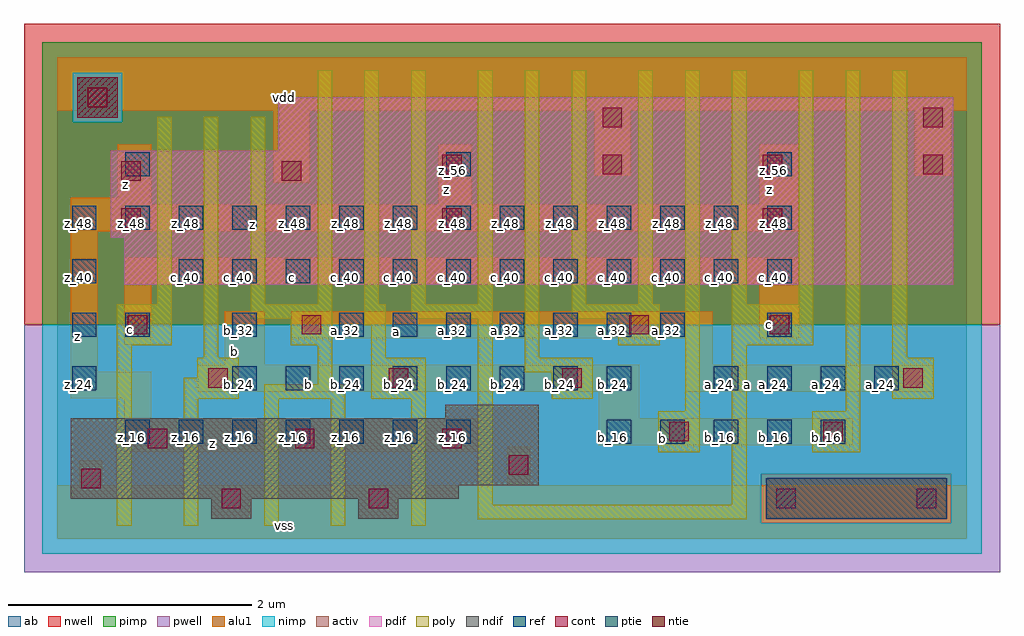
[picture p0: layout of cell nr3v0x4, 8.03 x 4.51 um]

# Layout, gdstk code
import gdstk
lib = gdstk.Library(unit=1e-6, precision=2.5e-09)
def R(c, l, rs):  # rectangles x0, y0, x1, y1
    for r in rs: c.add(gdstk.rectangle(r[:2], r[2:], *l))
def A(c, l, x, y, w, h, nx, ny, dx, dy):  # array of equal rectangles
    R(c, l, [(x+i*dx, y+j*dy, x+i*dx+w, y+j*dy+h) for i in range(nx) for j in range(ny)])
ndif = (3, 0)
pdif = (4, 0)
ntie = (5, 0)
ptie = (6, 0)
ref = (24, 0)
cont = (25, 0)
pwell = (41, 0)
nwell = (42, 0)
activ = (43, 0)
pimp = (44, 0)
nimp = (45, 0)
poly = (46, 0)
alu1 = (49, 0)
ab = (63, 0)

nr3v0x4 = lib.new_cell('nr3v0x4')
R(nr3v0x4, ndif, [(1.265,0.165,1.595,0.33), (2.475,0.165,2.805,0.33), (0.11,0.33,3.3,0.44), (0.11,0.44,3.96,0.99), (3.19,0.99,3.96,1.1)])
R(nr3v0x4, pdif, [(0.55,2.09,7.37,2.475), (0.44,2.475,7.37,3.19), (1.815,3.19,7.37,3.63)])
R(nr3v0x4, ntie, [(0.165,3.465,0.495,3.795)])
R(nr3v0x4, ptie, [(5.83,0.165,7.315,0.495)])
A(nr3v0x4, ref, 0.56, 0.78, 0.2, 0.2, 7, 1, 0.44, 0)
A(nr3v0x4, ref, 4.52, 0.78, 0.2, 0.2, 5, 1, 0.44, 0)
A(nr3v0x4, ref, 0.12, 1.22, 0.2, 0.2, 1, 3, 0, 0.44)
A(nr3v0x4, ref, 1.44, 1.22, 0.2, 0.2, 8, 1, 0.44, 0)
A(nr3v0x4, ref, 5.4, 1.22, 0.2, 0.2, 4, 1, 0.44, 0)
A(nr3v0x4, ref, 0.56, 1.66, 0.2, 0.2, 3, 1, 0.88, 0)
A(nr3v0x4, ref, 2.76, 1.66, 0.2, 0.2, 6, 1, 0.44, 0)
A(nr3v0x4, ref, 1, 2.1, 0.2, 0.2, 12, 1, 0.44, 0)
A(nr3v0x4, ref, 0.12, 2.54, 0.2, 0.2, 14, 1, 0.44, 0)
A(nr3v0x4, ref, 0.56, 2.98, 0.2, 0.2, 3, 1, 2.64, 0)
R(nr3v0x4, ref, [(5.84,1.66,6.04,1.86)])
A(nr3v0x4, cont, 0.745, 0.745, 0.16, 0.16, 3, 1, 1.21, 0)
A(nr3v0x4, cont, 0.525, 2.56, 0.16, 0.16, 3, 1, 2.64, 0)
A(nr3v0x4, cont, 3.165, 3, 0.16, 0.16, 4, 1, 1.32, 0)
R(nr3v0x4, cont, [(1.35,0.25,1.51,0.41), (2.56,0.25,2.72,0.41), (5.915,0.25,6.075,0.41), (7.07,0.25,7.23,0.41), (0.195,0.415,0.355,0.575), (3.715,0.525,3.875,0.685), (5.035,0.8,5.195,0.96), (6.3,0.8,6.46,0.96), (1.24,1.24,1.4,1.4), (2.725,1.24,2.885,1.4), (4.155,1.24,4.315,1.4), (6.96,1.24,7.12,1.4), (0.58,1.68,0.74,1.84), (2.01,1.68,2.17,1.84), (4.705,1.68,4.865,1.84), (5.86,1.68,6.02,1.84), (0.525,2.945,0.685,3.105), (1.845,2.945,2.005,3.105), (4.485,3.385,4.645,3.545), (7.125,3.385,7.285,3.545), (0.25,3.55,0.41,3.71)])
R(nr3v0x4, pwell, [(-0.275,-0.275,7.755,1.76)])
R(nr3v0x4, nwell, [(-0.275,1.76,7.755,4.235)])
R(nr3v0x4, activ, [(1.265,0.165,1.595,0.33), (2.475,0.165,2.805,0.33), (5.83,0.165,7.315,0.495), (0.11,0.33,3.3,0.44), (0.11,0.44,3.96,0.99), (3.19,0.99,3.96,1.1), (0.55,2.09,7.37,2.475), (0.44,2.475,7.37,3.19), (1.815,3.19,7.37,3.63), (0.165,3.465,0.495,3.795)])
R(nr3v0x4, pimp, [(5.79,0.125,7.355,0.535), (-0.125,1.76,7.605,3.425), (-0.125,3.425,0.125,3.835), (0.535,3.425,7.605,3.835), (-0.125,3.835,7.605,4.085)])
R(nr3v0x4, nimp, [(-0.125,-0.125,7.605,0.125), (-0.125,0.125,5.79,0.535), (7.355,0.125,7.605,0.535), (-0.125,0.535,7.605,1.76), (0.125,3.425,0.535,3.835)])
A(nr3v0x4, poly, 2.14, 1.93, 0.12, 1.925, 3, 1, 0.385, 0)
R(nr3v0x4, poly, [(0.49,0.105,0.61,1.59), (1.04,0.105,1.16,1.15), (1.7,0.105,1.82,1.15), (2.25,0.105,2.37,1.15), (2.91,0.105,3.03,1.15), (3.46,0.16,5.67,0.28), (3.46,0.28,3.58,1.81), (5.55,0.28,5.67,1.59), (4.945,0.71,5.285,1.05), (6.21,0.71,6.605,1.05), (5.165,1.05,5.285,3.855), (6.485,1.05,6.605,3.855), (1.04,1.15,1.49,1.325), (1.7,1.15,2.37,1.27), (2.58,1.15,3.03,1.49), (4.065,1.15,4.405,1.37), (6.87,1.15,7.21,1.49), (2.14,1.27,2.26,1.59), (1.15,1.325,1.49,1.49), (3.845,1.37,4.405,1.49), (1.205,1.49,1.325,3.47), (2.58,1.49,2.7,1.755), (3.845,1.49,3.965,3.855), (6.87,1.49,6.99,3.855), (0.49,1.59,0.94,1.93), (1.92,1.59,2.26,1.81), (4.615,1.59,4.955,1.81), (5.55,1.59,6.22,1.93), (2.525,1.755,2.7,1.93), (1.59,1.81,2.26,1.93), (2.91,1.81,3.58,1.93), (4.23,1.81,4.955,1.93), (0.82,1.93,0.94,3.47), (1.59,1.93,1.71,3.47), (3.46,1.93,3.58,3.855), (4.23,1.93,4.35,3.855), (4.78,1.93,4.9,3.855), (5.55,1.93,5.67,3.855), (6.1,1.93,6.22,3.855)])
R(nr3v0x4, alu1, [(0,0,7.48,0.44), (0.18,0.44,0.37,0.645), (3.7,0.44,3.89,0.755), (0.55,0.715,3.465,0.99), (4.455,0.77,6.545,0.99), (0.55,0.99,0.77,1.155), (4.455,0.99,4.785,1.21), (0.11,1.155,0.77,1.375), (1.155,1.21,4.785,1.43), (5.17,1.21,7.205,1.43), (0.11,1.375,0.33,2.53), (1.375,1.43,1.705,1.87), (5.17,1.43,5.39,1.65), (0.55,1.595,0.77,2.09), (1.925,1.65,5.39,1.87), (5.775,1.65,6.105,2.09), (0.55,2.09,6.105,2.31), (0.11,2.53,6.105,2.75), (0.11,2.75,0.77,2.805), (3.135,2.75,3.41,3.245), (5.775,2.75,6.105,3.245), (0.495,2.805,0.77,3.245), (1.775,2.93,2.075,3.52), (4.415,2.985,4.715,3.52), (7.055,2.985,7.355,3.52), (0,3.52,7.48,3.96)])
R(nr3v0x4, ab, [(0,0,7.48,3.96)])
nr3v0x4.add(gdstk.Label('vss', (1.87,0.11), layer=49, texttype=0))
nr3v0x4.add(gdstk.Label('b', (4.9775,0.825), layer=49, texttype=0))
nr3v0x4.add(gdstk.Label('z', (1.2775,0.7825), layer=49, texttype=0))
nr3v0x4.add(gdstk.Label('a', (5.6775,1.265), layer=49, texttype=0))
nr3v0x4.add(gdstk.Label('b', (2.0625,1.265), layer=49, texttype=0))
nr3v0x4.add(gdstk.Label('c', (5.8575,1.76), layer=49, texttype=0))
nr3v0x4.add(gdstk.Label('a', (2.79,1.705), layer=49, texttype=0))
nr3v0x4.add(gdstk.Label('b', (1.4575,1.54), layer=49, texttype=0))
nr3v0x4.add(gdstk.Label('c', (0.605,1.7175), layer=49, texttype=0))
nr3v0x4.add(gdstk.Label('c', (1.9375,2.145), layer=49, texttype=0))
nr3v0x4.add(gdstk.Label('z', (0.165,1.6625), layer=49, texttype=0))
nr3v0x4.add(gdstk.Label('z', (1.6075,2.585), layer=49, texttype=0))
nr3v0x4.add(gdstk.Label('z', (5.8575,2.8725), layer=49, texttype=0))
nr3v0x4.add(gdstk.Label('z', (3.2025,2.8725), layer=49, texttype=0))
nr3v0x4.add(gdstk.Label('z', (0.5625,2.915), layer=49, texttype=0))
nr3v0x4.add(gdstk.Label('vdd', (1.87,3.63), layer=49, texttype=0))
nr3v0x4.add(gdstk.Label('b_16', (5.45,0.83), layer=24, texttype=0))
nr3v0x4.add(gdstk.Label('a_24', (5.45,1.27), layer=24, texttype=0))
nr3v0x4.add(gdstk.Label('c_40', (5.45,2.15), layer=24, texttype=0))
nr3v0x4.add(gdstk.Label('z_48', (5.45,2.59), layer=24, texttype=0))
nr3v0x4.add(gdstk.Label('b_16', (5.89,0.83), layer=24, texttype=0))
nr3v0x4.add(gdstk.Label('a_24', (5.89,1.27), layer=24, texttype=0))
nr3v0x4.add(gdstk.Label('c_32', (5.89,1.71), layer=24, texttype=0))
nr3v0x4.add(gdstk.Label('c_40', (5.89,2.15), layer=24, texttype=0))
nr3v0x4.add(gdstk.Label('z_48', (5.89,2.59), layer=24, texttype=0))
nr3v0x4.add(gdstk.Label('z_56', (5.89,3.03), layer=24, texttype=0))
nr3v0x4.add(gdstk.Label('b_16', (6.33,0.83), layer=24, texttype=0))
nr3v0x4.add(gdstk.Label('a_24', (6.33,1.27), layer=24, texttype=0))
nr3v0x4.add(gdstk.Label('z_16', (0.61,0.83), layer=24, texttype=0))
nr3v0x4.add(gdstk.Label('c_32', (0.61,1.71), layer=24, texttype=0))
nr3v0x4.add(gdstk.Label('z_48', (0.61,2.59), layer=24, texttype=0))
nr3v0x4.add(gdstk.Label('z_56', (0.61,3.03), layer=24, texttype=0))
nr3v0x4.add(gdstk.Label('a_24', (6.77,1.27), layer=24, texttype=0))
nr3v0x4.add(gdstk.Label('z_16', (1.05,0.83), layer=24, texttype=0))
nr3v0x4.add(gdstk.Label('c_40', (1.05,2.15), layer=24, texttype=0))
nr3v0x4.add(gdstk.Label('z_48', (1.05,2.59), layer=24, texttype=0))
nr3v0x4.add(gdstk.Label('z_16', (1.49,0.83), layer=24, texttype=0))
nr3v0x4.add(gdstk.Label('b_24', (1.49,1.27), layer=24, texttype=0))
nr3v0x4.add(gdstk.Label('b_32', (1.49,1.71), layer=24, texttype=0))
nr3v0x4.add(gdstk.Label('c_40', (1.49,2.15), layer=24, texttype=0))
nr3v0x4.add(gdstk.Label('z_48', (1.49,2.59), layer=24, texttype=0))
nr3v0x4.add(gdstk.Label('z_16', (1.93,0.83), layer=24, texttype=0))
nr3v0x4.add(gdstk.Label('b_24', (1.93,1.27), layer=24, texttype=0))
nr3v0x4.add(gdstk.Label('c_40', (1.93,2.15), layer=24, texttype=0))
nr3v0x4.add(gdstk.Label('z_48', (1.93,2.59), layer=24, texttype=0))
nr3v0x4.add(gdstk.Label('z_24', (0.17,1.27), layer=24, texttype=0))
nr3v0x4.add(gdstk.Label('z_32', (0.17,1.71), layer=24, texttype=0))
nr3v0x4.add(gdstk.Label('z_40', (0.17,2.15), layer=24, texttype=0))
nr3v0x4.add(gdstk.Label('z_48', (0.17,2.59), layer=24, texttype=0))
nr3v0x4.add(gdstk.Label('z_16', (2.37,0.83), layer=24, texttype=0))
nr3v0x4.add(gdstk.Label('b_24', (2.37,1.27), layer=24, texttype=0))
nr3v0x4.add(gdstk.Label('a_32', (2.37,1.71), layer=24, texttype=0))
nr3v0x4.add(gdstk.Label('c_40', (2.37,2.15), layer=24, texttype=0))
nr3v0x4.add(gdstk.Label('z_48', (2.37,2.59), layer=24, texttype=0))
nr3v0x4.add(gdstk.Label('z_16', (2.81,0.83), layer=24, texttype=0))
nr3v0x4.add(gdstk.Label('b_24', (2.81,1.27), layer=24, texttype=0))
nr3v0x4.add(gdstk.Label('a_32', (2.81,1.71), layer=24, texttype=0))
nr3v0x4.add(gdstk.Label('c_40', (2.81,2.15), layer=24, texttype=0))
nr3v0x4.add(gdstk.Label('z_48', (2.81,2.59), layer=24, texttype=0))
nr3v0x4.add(gdstk.Label('z_16', (3.25,0.83), layer=24, texttype=0))
nr3v0x4.add(gdstk.Label('b_24', (3.25,1.27), layer=24, texttype=0))
nr3v0x4.add(gdstk.Label('a_32', (3.25,1.71), layer=24, texttype=0))
nr3v0x4.add(gdstk.Label('c_40', (3.25,2.15), layer=24, texttype=0))
nr3v0x4.add(gdstk.Label('z_48', (3.25,2.59), layer=24, texttype=0))
nr3v0x4.add(gdstk.Label('z_56', (3.25,3.03), layer=24, texttype=0))
nr3v0x4.add(gdstk.Label('b_24', (3.69,1.27), layer=24, texttype=0))
nr3v0x4.add(gdstk.Label('a_32', (3.69,1.71), layer=24, texttype=0))
nr3v0x4.add(gdstk.Label('c_40', (3.69,2.15), layer=24, texttype=0))
nr3v0x4.add(gdstk.Label('z_48', (3.69,2.59), layer=24, texttype=0))
nr3v0x4.add(gdstk.Label('b_24', (4.13,1.27), layer=24, texttype=0))
nr3v0x4.add(gdstk.Label('a_32', (4.13,1.71), layer=24, texttype=0))
nr3v0x4.add(gdstk.Label('c_40', (4.13,2.15), layer=24, texttype=0))
nr3v0x4.add(gdstk.Label('z_48', (4.13,2.59), layer=24, texttype=0))
nr3v0x4.add(gdstk.Label('b_16', (4.57,0.83), layer=24, texttype=0))
nr3v0x4.add(gdstk.Label('b_24', (4.57,1.27), layer=24, texttype=0))
nr3v0x4.add(gdstk.Label('a_32', (4.57,1.71), layer=24, texttype=0))
nr3v0x4.add(gdstk.Label('c_40', (4.57,2.15), layer=24, texttype=0))
nr3v0x4.add(gdstk.Label('z_48', (4.57,2.59), layer=24, texttype=0))
nr3v0x4.add(gdstk.Label('b_16', (5.01,0.83), layer=24, texttype=0))
nr3v0x4.add(gdstk.Label('a_32', (5.01,1.71), layer=24, texttype=0))
nr3v0x4.add(gdstk.Label('c_40', (5.01,2.15), layer=24, texttype=0))
nr3v0x4.add(gdstk.Label('z_48', (5.01,2.59), layer=24, texttype=0))

lib.write_gds('nr3v0x4.gds')
